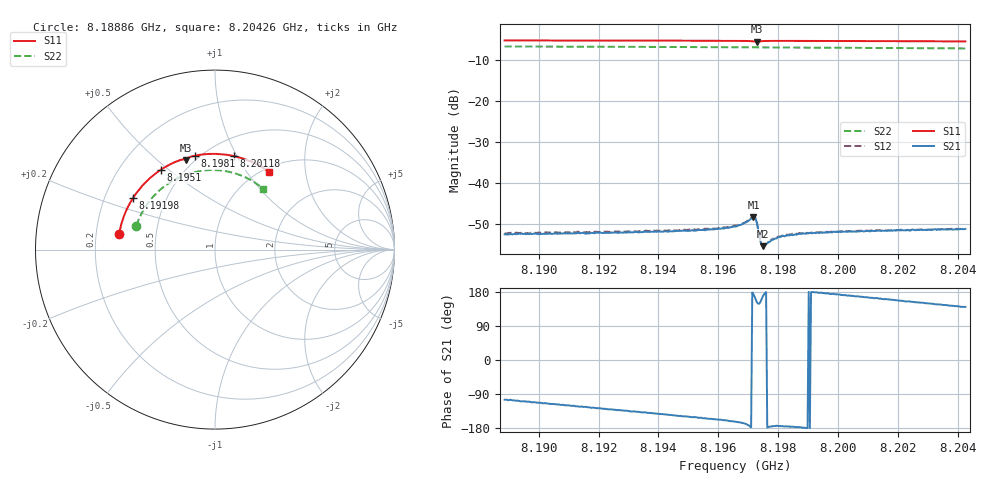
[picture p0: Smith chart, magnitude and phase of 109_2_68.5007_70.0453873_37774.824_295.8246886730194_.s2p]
#  HZ  S  RI  R  50.00
! Rohde & Schwarz Vector Network Analyzer
! Rohde-Schwarz,ZNB20-2Port,1311601062101988,3.16
! Created: UTC 3/20/2024, 5:08:37 PM
! freq[Hz]  re:S11  im:S11  re:S21  im:S21  re:S12  im:S12  re:S22  im:S22
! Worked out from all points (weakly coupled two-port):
!   401 points, 8.18886 GHz to 8.20426 GHz, reference 50 ohm
!   highest |S21| = -48.38 dB at 8.19717 GHz (marker M1); lowest = -55.4 dB at 8.19748 GHz (marker M2)
!   lowest |S11| = -5.6 dB at 8.19729 GHz (marker M3), VSWR 3.19, Z = 22.8 + j31.2 ohm
!   |S11| at or under -10 dB: nowhere
!   |S22| runs from -7.3 to -6.8 dB; largest |S21 - S12| = 0.0002
!   S11 on the Smith chart (normalised r, x): 8.18886 GHz: 0.30, +0.07; 8.19198 GHz: 0.32, +0.26; 8.1951 GHz: 0.38, +0.47; 8.1981 GHz: 0.47, +0.69; 8.20118 GHz: 0.67, +0.97; 8.20426 GHz: 1.07, +1.28
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8.18886e9  -0.5344 0.0868  -0.000608 -0.0023  -0.000664 -0.00234  -0.438 0.133
8.191439e9  -0.4752 0.2569  -0.00133 -0.00208  -0.00147 -0.00207  -0.3729 0.2603
8.191978e9  -0.4558 0.2894  -0.00149 -0.00198  -0.00161 -0.00196  -0.3544 0.2839
8.194018e9  -0.3628 0.398  -0.00203 -0.00159  -0.0021 -0.00156  -0.271 0.361
8.195096e9  -0.3026 0.4445  -0.00231 -0.00129  -0.00239 -0.00126  -0.2196 0.3926
8.196058e9  -0.2433 0.4785  -0.00257 -0.00105  -0.00265 -0.00098  -0.1702 0.4147
8.196558e9  -0.2102 0.493  -0.00282 -0.000879  -0.00292 -0.000785  -0.1436 0.4237
8.196866e9  -0.1884 0.5005  -0.00316 -0.000716  -0.00322 -0.000578  -0.1268 0.4286
8.197174e9  -0.1638 0.5013  -0.00378 0.000451  -0.00387 0.000622  -0.1099 0.4325
8.197213e9  -0.1618 0.4997  -0.00371 0.000849  -0.00377 0.00104  -0.1078 0.4329
8.19729e9  -0.1615 0.4973  -0.0029 0.00151  -0.0029 0.00164  -0.1037 0.4336
8.197405e9  -0.1609 0.5033  -0.00175 0.000899  -0.00177 0.000997  -0.0974 0.435
8.197444e9  -0.1588 0.5058  -0.00168 0.000619  -0.00167 0.000682  -0.0953 0.4356
8.197482e9  -0.1564 0.5081  -0.00166 0.000389  -0.00167 0.000488  -0.0932 0.4361
8.197559e9  -0.1507 0.5113  -0.00176 0.000109  -0.00179 0.000165  -0.089 0.4367
8.197867e9  -0.128 0.5192  -0.00207 -0.000192  -0.00212 -0.000129  -0.0717 0.4394
8.198098e9  -0.1114 0.5231  -0.00222 -0.000209  -0.00223 -0.000125  -0.0587 0.4409
8.198483e9  -0.084 0.5281  -0.00232 -0.000162  -0.00242 -7.3e-05  -0.037 0.4426
8.199137e9  -0.0376 0.5328  -0.00245 1.79e-05  -0.00251 0.000122  0.000392 0.443
8.201177e9  0.106 0.521  -0.0025 0.000752  -0.00253 0.000845  0.1147 0.4238
8.201716e9  0.1428 0.5113  -0.00246 0.00092  -0.00244 0.00104  0.1437 0.4137
8.204256e9  0.3029 0.4316  -0.00212 0.00177  -0.00202 0.00184  0.2691 0.3389
